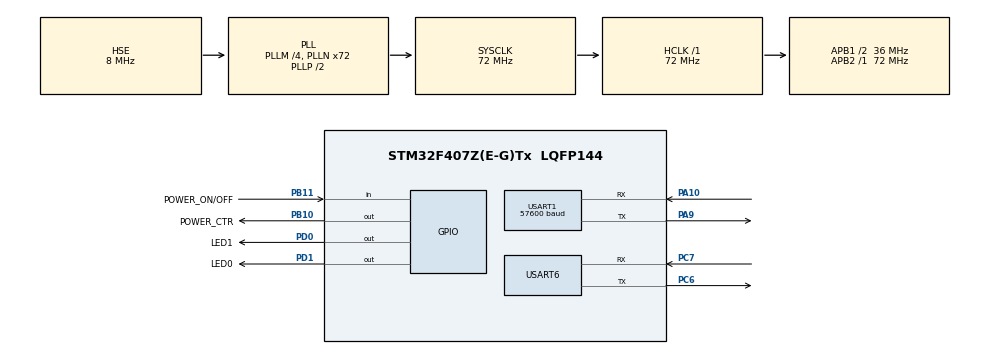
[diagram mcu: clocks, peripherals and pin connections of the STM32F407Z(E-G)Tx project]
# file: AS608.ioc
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FREERTOS.Tasks01=PWR_ON_FF,-2,128,Start_PWR_ON_FF,Default,NULL,Dynamic,NULL,NULL;LED_Task,-3,128,Start_LED_Task,Default,NULL,Dynamic,NULL,NULL;AS608_Task,-3,128,Start_AS608_Task,Default,NULL,Dynamic,NULL,NULL
FREERTOS.Timers01=myTimer01,Callback01,osTimerPeriodic,Default,NULL,Dynamic,NULL
FREERTOS.configUSE_TIMERS=1
Mcu.Family=STM32F4
Mcu.Name=STM32F407Z(E-G)Tx
Mcu.Package=LQFP144
NVIC.PriorityGroup=NVIC_PRIORITYGROUP_4
NVIC.RCC_IRQn=true\:5\:0\:false\:false\:true\:true\:true\:false
NVIC.TIM4_IRQn=true\:5\:0\:false\:false\:true\:true\:true\:true
NVIC.TIM7_IRQn=true\:15\:0\:false\:false\:true\:false\:false\:true
NVIC.TimeBase=TIM7_IRQn
NVIC.TimeBaseIP=TIM7
NVIC.USART1_IRQn=true\:5\:0\:false\:false\:true\:true\:true\:true
NVIC.USART6_IRQn=true\:5\:0\:false\:false\:true\:true\:true\:true
PA10.Mode=Asynchronous
PA10.Signal=USART1_RX
PA13.Mode=Serial_Wire
PA13.Signal=SYS_JTMS-SWDIO
PA14.Mode=Serial_Wire
PA14.Signal=SYS_JTCK-SWCLK
PA9.Mode=Asynchronous
PA9.Signal=USART1_TX
PB10.GPIO_Label=POWER_CTR
PB10.GPIO_PuPd=GPIO_PULLDOWN
PB10.GPIO_Speed=GPIO_SPEED_FREQ_HIGH
PB10.Signal=GPIO_Output
PB11.GPIO_Label=POWER_ON/OFF
PB11.GPIO_PuPd=GPIO_PULLUP
PB11.Signal=GPIO_Input
PC6.Mode=Asynchronous
PC6.Signal=USART6_TX
PC7.Mode=Asynchronous
PC7.Signal=USART6_RX
PD0.GPIO_Label=LED1
PD0.GPIO_PuPd=GPIO_PULLUP
PD0.GPIO_Speed=GPIO_SPEED_FREQ_HIGH
PD0.PinState=GPIO_PIN_SET
PD0.Signal=GPIO_Output
PD1.GPIO_Label=LED0
PD1.GPIO_PuPd=GPIO_PULLUP
PD1.GPIO_Speed=GPIO_SPEED_FREQ_HIGH
PD1.PinState=GPIO_PIN_SET
PD1.Signal=GPIO_Output
PH0-OSC_IN.Mode=HSE-External-Oscillator
PH0-OSC_IN.Signal=RCC_OSC_IN
PH1-OSC_OUT.Mode=HSE-External-Oscillator
PH1-OSC_OUT.Signal=RCC_OSC_OUT
ProjectManager.HeapSize=0x200
ProjectManager.StackSize=0x400
ProjectManager.TargetToolchain=MDK-ARM V5.32
RCC.48MHZClocksFreq_Value=36000000
RCC.AHBFreq_Value=72000000
RCC.APB1CLKDivider=RCC_HCLK_DIV2
RCC.APB1Freq_Value=36000000
RCC.APB1TimFreq_Value=72000000
RCC.APB2Freq_Value=72000000
RCC.APB2TimFreq_Value=72000000
RCC.CortexFreq_Value=72000000
RCC.HCLKFreq_Value=72000000
RCC.HSE_VALUE=8000000
RCC.HSI_VALUE=16000000
RCC.LSE_VALUE=32768
RCC.PLLM=4
RCC.PLLN=72
RCC.PLLSourceVirtual=RCC_PLLSOURCE_HSE
RCC.SYSCLKFreq_VALUE=72000000
RCC.SYSCLKSource=RCC_SYSCLKSOURCE_PLLCLK
RCC.VCOOutputFreq_Value=144000000
TIM4.AutoReloadPreload=TIM_AUTORELOAD_PRELOAD_ENABLE
TIM4.Period=20000-1
TIM4.Prescaler=72-1
USART1.BaudRate=57600
USART1.VirtualMode=VM_ASYNC
USART6.VirtualMode=VM_ASYNC
VP_FREERTOS_VS_CMSIS_V1.Mode=CMSIS_V1
VP_SYS_VS_tim7.Mode=TIM7
VP_TIM4_VS_ClockSourceINT.Mode=Internal
board=custom

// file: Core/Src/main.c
/* USER CODE BEGIN Header */
/**
  ******************************************************************************
  * @file           : main.c
  * @brief          : Main program body
  ******************************************************************************
  * @attention
  *
  * Copyright (c) 2024 STMicroelectronics.
  * All rights reserved.
  *
  * This software is licensed under terms that can be found in the LICENSE file
  * in the root directory of this software component.
  * If no LICENSE file comes with this software, it is provided AS-IS.
  *
  ******************************************************************************
  */
/* USER CODE END Header */
#include "main.h"
#include "cmsis_os.h"
#include "tim.h"
#include "usart.h"
#include "gpio.h"

/* USER CODE BEGIN Includes */
#include <stdio.h>
#include "as608.h"
#include "as608_test.h"

#include <stdarg.h>
#include <string.h>
#include <stdio.h>
#include "port.h"
#include "mb.h"
/* USER CODE END Includes */

/* USER CODE BEGIN PTD */

void Debugprintf(char* fmt, ...)
{
	char str[256];
	int len;
	va_list varg;
	va_start(varg, fmt);
	vsnprintf(str, 256, fmt, varg);
	va_end(varg);
	len = strlen(str);
	HAL_UART_Transmit(&huart1,(uint8_t*) str, len, 0XFFFF);
}

/* USER CODE END PTD */

/* USER CODE BEGIN PM */
extern void prvvUARTTxReadyISR(void);
extern void prvvUARTRxISR(void);
extern void prvvTIMERExpiredISR( void );

/* USER CODE END PM */

void SystemClock_Config(void);
void MX_FREERTOS_Init(void);

/* USER CODE BEGIN 0 */

int fputc(int ch,FILE *f){
 uint8_t temp[1]={ch};
 HAL_UART_Transmit(&huart6,temp,1,2);
 return ch;
}

int fgetc(FILE *f)
{
  uint8_t ch = 0;
  HAL_UART_Receive(&huart6, &ch, 1, 0xffff);
  return ch;
}

/* USER CODE END 0 */

int main(void)
{
  /* USER CODE BEGIN 1 */
		uint8_t res = 1;

  /* USER CODE END 1 */

  /* MCU Configuration--------------------------------------------------------*/

  /* Reset of all peripherals, Initializes the Flash interface and the Systick. */
  HAL_Init();

  /* Configure the system clock */
  SystemClock_Config();

  /* Initialize all configured peripherals */
  MX_GPIO_Init();
  MX_TIM4_Init();
  MX_USART1_UART_Init();
  MX_USART6_UART_Init();
  /* USER CODE BEGIN 2 */
  HAL_GPIO_WritePin(POWER_CTR_GPIO_Port,POWER_CTR_Pin,GPIO_PIN_SET);
  HAL_Delay(500);

  	printf("AS608指纹模块测试开始\r\n");
	res = as608_init();
	if(res == 0)
	{
		printf("AS608指纹模块初始化成功\r\n");
	}
	else
		printf("AS608指纹模块初始化失败\r\n");

	Show_Message();

//	eMBInit( MB_RTU, 0x01, 1, 115200, MB_PAR_NONE);
//	eMBEnable(  );

  /* USER CODE END 2 */

  /* Call init function for freertos objects (in freertos.c) */
  MX_FREERTOS_Init();
  /* Start scheduler */
  osKernelStart();

  /* We should never get here as control is now taken by the scheduler */
  /* Infinite loop */
  while (1)
  {

  }
}

void SystemClock_Config(void)
{
  RCC_OscInitTypeDef RCC_OscInitStruct = {0};
  RCC_ClkInitTypeDef RCC_ClkInitStruct = {0};

  /** Configure the main internal regulator output voltage
  */
  __HAL_RCC_PWR_CLK_ENABLE();
  __HAL_PWR_VOLTAGESCALING_CONFIG(PWR_REGULATOR_VOLTAGE_SCALE1);
  /** Initializes the RCC Oscillators according to the specified parameters
  * in the RCC_OscInitTypeDef structure.
  */
  RCC_OscInitStruct.OscillatorType = RCC_OSCILLATORTYPE_HSE;
  RCC_OscInitStruct.HSEState = RCC_HSE_ON;
  RCC_OscInitStruct.PLL.PLLState = RCC_PLL_ON;
  RCC_OscInitStruct.PLL.PLLSource = RCC_PLLSOURCE_HSE;
  RCC_OscInitStruct.PLL.PLLM = 4;
  RCC_OscInitStruct.PLL.PLLN = 72;
  RCC_OscInitStruct.PLL.PLLP = RCC_PLLP_DIV2;
  RCC_OscInitStruct.PLL.PLLQ = 4;
  if (HAL_RCC_OscConfig(&RCC_OscInitStruct) != HAL_OK)
  {
    Error_Handler();
  }
  /** Initializes the CPU, AHB and APB buses clocks
  */
  RCC_ClkInitStruct.ClockType = RCC_CLOCKTYPE_HCLK|RCC_CLOCKTYPE_SYSCLK
                              |RCC_CLOCKTYPE_PCLK1|RCC_CLOCKTYPE_PCLK2;
  RCC_ClkInitStruct.SYSCLKSource = RCC_SYSCLKSOURCE_PLLCLK;
  RCC_ClkInitStruct.AHBCLKDivider = RCC_SYSCLK_DIV1;
  RCC_ClkInitStruct.APB1CLKDivider = RCC_HCLK_DIV2;
  RCC_ClkInitStruct.APB2CLKDivider = RCC_HCLK_DIV1;

  if (HAL_RCC_ClockConfig(&RCC_ClkInitStruct, FLASH_LATENCY_2) != HAL_OK)
  {
    Error_Handler();
  }
}

void HAL_TIM_PeriodElapsedCallback(TIM_HandleTypeDef *htim)
{
  if (htim->Instance == TIM7) {
    HAL_IncTick();
  }
  /* USER CODE BEGIN Callback 1 */

	if (htim->Instance == TIM4) {
    prvvTIMERExpiredISR();
  }

  /* USER CODE END Callback 1 */
}

void Error_Handler(void)
{
  __disable_irq();
  while (1)
  {
  }
}

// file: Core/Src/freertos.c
/* USER CODE BEGIN Header */
/**
  ******************************************************************************
  * File Name          : freertos.c
  * Description        : Code for freertos applications
  ******************************************************************************
  * @attention
  *
  * Copyright (c) 2024 STMicroelectronics.
  * All rights reserved.
  *
  * This software is licensed under terms that can be found in the LICENSE file
  * in the root directory of this software component.
  * If no LICENSE file comes with this software, it is provided AS-IS.
  *
  ******************************************************************************
  */
/* USER CODE END Header */

#include "FreeRTOS.h"
#include "task.h"
#include "main.h"
#include "cmsis_os.h"

/* USER CODE BEGIN Includes */
#include "PWR_ON_OFF.h"
#include "as608.h"
#include "stdio.h"
#include "as608_test.h"
#include "mb.h"
#include "mbport.h"

/* USER CODE END Includes */

osThreadId PWR_ON_FFHandle;
osThreadId LED_TaskHandle;
osThreadId AS608_TaskHandle;
osTimerId myTimer01Handle;

void Start_PWR_ON_FF(void const * argument);
void Start_LED_Task(void const * argument);
void Start_AS608_Task(void const * argument);
void Callback01(void const * argument);

void MX_FREERTOS_Init(void); /* (MISRA C 2004 rule 8.1) */

/* GetIdleTaskMemory prototype (linked to static allocation support) */
void vApplicationGetIdleTaskMemory( StaticTask_t **ppxIdleTaskTCBBuffer, StackType_t **ppxIdleTaskStackBuffer, uint32_t *pulIdleTaskStackSize );

/* GetTimerTaskMemory prototype (linked to static allocation support) */
void vApplicationGetTimerTaskMemory( StaticTask_t **ppxTimerTaskTCBBuffer, StackType_t **ppxTimerTaskStackBuffer, uint32_t *pulTimerTaskStackSize );

/* USER CODE BEGIN GET_IDLE_TASK_MEMORY */
static StaticTask_t xIdleTaskTCBBuffer;
static StackType_t xIdleStack[configMINIMAL_STACK_SIZE];

void vApplicationGetIdleTaskMemory( StaticTask_t **ppxIdleTaskTCBBuffer, StackType_t **ppxIdleTaskStackBuffer, uint32_t *pulIdleTaskStackSize )
{
    *ppxIdleTaskTCBBuffer = &xIdleTaskTCBBuffer;
    *ppxIdleTaskStackBuffer = &xIdleStack[0];
    *pulIdleTaskStackSize = configMINIMAL_STACK_SIZE;
    /* place for user code */
}
/* USER CODE END GET_IDLE_TASK_MEMORY */

/* USER CODE BEGIN GET_TIMER_TASK_MEMORY */
static StaticTask_t xTimerTaskTCBBuffer;
static StackType_t xTimerStack[configTIMER_TASK_STACK_DEPTH];

void vApplicationGetTimerTaskMemory( StaticTask_t **ppxTimerTaskTCBBuffer, StackType_t **ppxTimerTaskStackBuffer, uint32_t *pulTimerTaskStackSize )
{
  *ppxTimerTaskTCBBuffer = &xTimerTaskTCBBuffer;
  *ppxTimerTaskStackBuffer = &xTimerStack[0];
  *pulTimerTaskStackSize = configTIMER_TASK_STACK_DEPTH;
  /* place for user code */
}
/* USER CODE END GET_TIMER_TASK_MEMORY */

void MX_FREERTOS_Init(void) {

  /* Create the timer(s) */
  /* definition and creation of myTimer01 */
  osTimerDef(myTimer01, Callback01);
  myTimer01Handle = osTimerCreate(osTimer(myTimer01), osTimerPeriodic, NULL);

  /* Create the thread(s) */
  /* definition and creation of PWR_ON_FF */
  osThreadDef(PWR_ON_FF, Start_PWR_ON_FF, osPriorityLow, 0, 128);
  PWR_ON_FFHandle = osThreadCreate(osThread(PWR_ON_FF), NULL);

  /* definition and creation of LED_Task */
  osThreadDef(LED_Task, Start_LED_Task, osPriorityIdle, 0, 128);
  LED_TaskHandle = osThreadCreate(osThread(LED_Task), NULL);

  /* definition and creation of AS608_Task */
  osThreadDef(AS608_Task, Start_AS608_Task, osPriorityIdle, 0, 128);
  AS608_TaskHandle = osThreadCreate(osThread(AS608_Task), NULL);

}

void Start_PWR_ON_FF(void const * argument)
{
  /* USER CODE BEGIN Start_PWR_ON_FF */
    /* Infinite loop */
    for(;;)
    {
        PWR_ON_OFF();
        osDelay(20);
    }
  /* USER CODE END Start_PWR_ON_FF */
}

void Start_LED_Task(void const * argument)
{
  /* USER CODE BEGIN Start_LED_Task */
    /* Infinite loop */
    for(;;)
    {
        HAL_GPIO_TogglePin(LED0_GPIO_Port,LED0_Pin);
        osDelay(500);
    }
  /* USER CODE END Start_LED_Task */
}

void Start_AS608_Task(void const * argument)
{
  /* USER CODE BEGIN Start_AS608_Task */
    /* Infinite loop */
    for(;;)
    {
		FR_Task();
//		eMBPoll();//����modbus����
//        osDelay(10);

    }
  /* USER CODE END Start_AS608_Task */
}

/* Callback01 function */
void Callback01(void const * argument)
{
}
